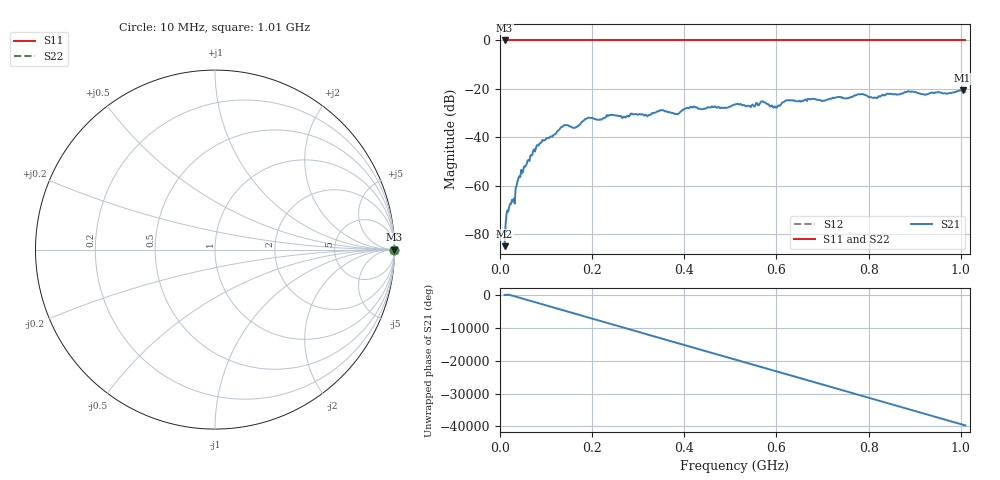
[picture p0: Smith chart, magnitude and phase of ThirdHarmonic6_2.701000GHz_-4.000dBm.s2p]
! 8/17/2025 6:27:59 AM
! C:\ANRITSUVNA\TEMP\TEMP.S2P
! CHANNEL.1
! TR.MEASUREMENT
! RAW.DATA
! RF.CORRECTION.OFF
! AVERAGING.OFF
! IF.BANDWIDTH: 5KHZ
! SWEEPTYPE:  FREQ.SWEEP(Linear)
! Reference Plane Port Info
! PORT:  PORT1  PORT2
! DISTANCE:  0  m  0  m
! TIME:  0  s  0  s
! PHASE.OFFSET:  0  deg.  0  deg.
! LOSS:  0  dB  0  dB
! REF.LOSS:  0  dB  0  dB
! REF.FREQ:  0  Hz  0  Hz
! Power Info
! POWER:  -20  dBm  -20  dBm
! EFF.POWER:  -20  dBm  -20  dBm
! SOURCE.ATTEN:  0  dB  0  dB
! TEST.ATTEN:  0  dB  0  dB
# GHZ S RI R 50.0
! FREQ.GHZ  S11RE  S11IM  S21RE  S21IM  S12RE  S12IM  S22RE  S22IM
!; PortSelection: Port_12
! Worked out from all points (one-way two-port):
!   501 points, 10 MHz to 1.01 GHz, reference 50 ohm
!   highest |S21| = -20.55 dB at 1.004 GHz (marker M1); lowest = -85.0 dB at 10 MHz (marker M2)
!   lowest |S11| = 0.0 dB at 10 MHz (marker M3)
!   |S11| at or under -10 dB: nowhere
!   |S22| runs from 0.0 to 0.0 dB; largest |S21 - S12| = 1.1
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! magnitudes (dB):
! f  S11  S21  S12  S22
! 10 MHz  0.0  -85.0  0.0  0.0
! 18 MHz  0.0  -70.7  0.0  0.0
! 28 MHz  0.0  -66.5  0.0  0.0
! 42 MHz  0.0  -56.2  0.0  0.0
! 76 MHz  0.0  -45.9  0.0  0.0
! 136 MHz  0.0  -35.7  0.0  0.0
! 162 MHz  0.0  -36.1  0.0  0.0
! 178 MHz  0.0  -33.6  0.0  0.0
! 194 MHz  0.0  -31.9  0.0  0.0
! 322 MHz  0.0  -31.0  0.0  0.0
! 344 MHz  0.0  -29.3  0.0  0.0
! 384 MHz  0.0  -30.3  0.0  0.0
! 418 MHz  0.0  -27.7  0.0  0.0
! 510 MHz  0.0  -26.5  0.0  0.0
! 548 MHz  0.0  -26.5  0.0  0.0
! 570 MHz  0.0  -25.1  0.0  0.0
! 596 MHz  0.0  -27.2  0.0  0.0
! 622 MHz  0.0  -24.8  0.0  0.0
! 678 MHz  0.0  -24.1  0.0  0.0
! 844 MHz  0.0  -22.1  0.0  0.0
! 1.004 GHz  0.0  -20.6  0.0  0.0
! 1.01 GHz  0.0  -21.2  0.0  0.0
